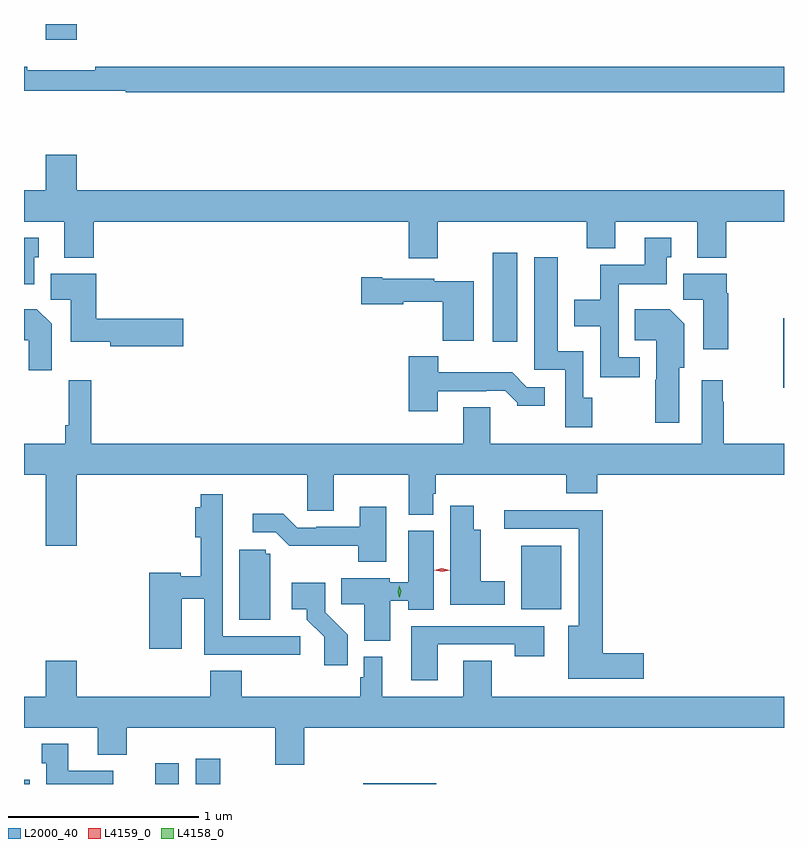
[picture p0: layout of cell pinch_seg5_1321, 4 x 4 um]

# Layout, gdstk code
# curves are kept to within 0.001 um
import gdstk
lib = gdstk.Library(unit=1e-6, precision=1e-09)
def R(c, l, rs):  # rectangles x0, y0, x1, y1
    for r in rs: c.add(gdstk.rectangle(r[:2], r[2:], *l))
def P(c, l, *ps):  # polygons
    for p in ps: c.add(gdstk.Polygon(p, *l))
L2000_40 = (2000, 40)
L4158_0 = (4158, 0)
L4159_0 = (4159, 0)

pinch_seg5_1321 = lib.new_cell('pinch_seg5_1321')
R(pinch_seg5_1321, L2000_40, [(248.81,907.08,248.839,907.102), (249.5,907.08,249.625,907.189), (249.713,907.08,249.844,907.213), (250.596,907.08,250.981,907.083), (251.426,908,251.638,908.335), (252.805,909.165,252.81,909.532), (251.276,909.408,251.407,909.877), (248.924,910.998,249.088,911.08)])
P(pinch_seg5_1321, L2000_40, [(252.81,910.856),(249.184,910.856),(249.184,910.837),(248.828,910.837),(248.828,910.856),(248.81,910.856),(248.81,910.728),(249.345,910.728),(249.345,910.72),(252.81,910.72)],
  [(250.987,910.04),(251.771,910.04),(251.771,909.899),(251.923,909.899),(251.923,910.04),(252.353,910.04),(252.353,909.851),(252.506,909.851),(252.506,910.04),(252.81,910.04),(252.81,910.204),(249.088,910.204),(249.088,910.393),(248.924,910.393),(248.924,910.204),(248.81,910.204),(248.81,910.04),(249.023,910.04),(249.023,909.851),(249.176,909.851),(249.176,910.04),(250.835,910.04),(250.835,909.846),(250.987,909.846)],
  [(248.863,909.852),(248.887,909.852),(248.887,909.955),(248.81,909.955),(248.81,909.71),(248.863,909.71)],
  [(252.052,909.327),(251.94,909.327),(251.94,909.71),(252.193,909.71),(252.193,909.852),(252.217,909.852),(252.217,909.955),(252.077,909.955),(252.077,909.814),(251.842,909.814),(251.842,909.628),(251.705,909.628),(251.705,909.488),(251.844,909.488),(251.844,909.222),(252.052,909.222)],
  [(251.802,909.114),(251.754,909.114),(251.754,909.358),(251.62,909.358),(251.62,909.853),(251.495,909.853),(251.495,909.261),(251.658,909.261),(251.658,908.958),(251.802,908.958)],
  [(252.516,909.662),(252.508,909.662),(252.508,909.766),(252.281,909.766),(252.281,909.628),(252.386,909.628),(252.386,909.369),(252.516,909.369)],
  [(249.649,909.53),(249.191,909.53),(249.191,909.766),(248.951,909.766),(248.951,909.628),(249.056,909.628),(249.056,909.407),(249.264,909.407),(249.264,909.383),(249.649,909.383)],
  [(251.176,909.727),(250.968,909.727),(250.968,909.739),(250.696,909.739),(250.696,909.747),(250.584,909.747),(250.584,909.605),(250.806,909.605),(250.806,909.617),(251.014,909.617),(251.014,909.413),(251.176,909.413)],
  [(252.259,909.27),(252.286,909.27),(252.286,909.502),(252.208,909.58),(252.025,909.58),(252.025,909.416),(252.137,909.416),(252.137,909.207),(252.132,909.207),(252.132,908.982),(252.259,908.982)],
  [(248.956,909.502),(248.878,909.58),(248.81,909.58),(248.81,909.416),(248.834,909.416),(248.834,909.258),(248.956,909.258)],
  [(250.987,909.147),(251.243,909.147),(251.243,909.15),(251.342,909.15),(251.406,909.086),(251.406,909.071),(251.551,909.071),(251.551,909.168),(251.457,909.168),(251.379,909.247),(250.99,909.247),(250.99,909.331),(250.835,909.331),(250.835,909.042),(250.987,909.042)],
  [(249.088,908.708),(250.302,908.708),(250.302,908.518),(250.441,908.518),(250.441,908.708),(250.835,908.708),(250.835,908.497),(250.963,908.497),(250.963,908.607),(250.976,908.607),(250.976,908.708),(251.663,908.708),(251.663,908.609),(251.828,908.609),(251.828,908.708),(252.81,908.708),(252.81,908.872),(252.494,908.872),(252.494,909.092),(252.487,909.092),(252.487,909.205),(252.378,909.205),(252.378,908.872),(251.263,908.872),(251.263,909.062),(251.123,909.062),(251.123,908.872),(249.164,908.872),(249.164,909.205),(249.046,909.205),(249.046,908.968),(249.028,908.968),(249.028,908.872),(248.81,908.872),(248.81,908.708),(248.924,908.708),(248.924,908.334),(249.088,908.334)],
  [(250.264,907.857),(249.855,907.857),(249.855,908.382),(249.856,908.382),(249.856,908.605),(249.739,908.605),(249.739,908.536),(249.71,908.536),(249.71,908.378),(249.739,908.378),(249.739,908.174),(249.636,908.174),(249.636,908.192),(249.47,908.192),(249.47,907.791),(249.64,907.791),(249.64,908.056),(249.759,908.056),(249.759,907.761),(250.039,907.761),(250.039,907.759),(250.264,907.759)],
  [(251.341,908.146),(251.215,908.146),(251.215,908.419),(251.176,908.419),(251.176,908.545),(251.054,908.545),(251.054,908.024),(251.341,908.024)],
  [(250.717,908.539),(250.577,908.539),(250.577,908.433),(250.348,908.433),(250.348,908.43),(250.248,908.43),(250.175,908.503),(250.014,908.503),(250.014,908.406),(250.134,908.406),(250.207,908.333),(250.57,908.334),(250.57,908.249),(250.717,908.249)],
  [(252.073,907.769),(251.855,907.769),(251.855,908.522),(251.337,908.522),(251.337,908.424),(251.729,908.424),(251.729,907.912),(251.675,907.912),(251.675,907.634),(252.073,907.634)],
  [(250.738,908.045),(250.832,908.045),(250.832,907.996),(250.966,907.996),(250.966,908.412),(250.832,908.412),(250.832,908.142),(250.734,908.142),(250.734,908.164),(250.48,908.164),(250.48,908.026),(250.601,908.026),(250.601,907.835),(250.738,907.835)],
  [(250.105,908.292),(250.083,908.292),(250.083,908.313),(249.944,908.313),(249.944,907.944),(250.105,907.944)],
  [(250.514,907.866),(250.395,907.985),(250.395,908.14),(250.218,908.14),(250.218,908),(250.298,908),(250.298,907.945),(250.389,907.855),(250.389,907.704),(250.514,907.704)],
  [(250.987,907.815),(251.392,907.815),(251.392,907.752),(251.548,907.752),(251.548,907.911),(250.847,907.911),(250.847,907.626),(250.987,907.626)],
  [(250.286,907.376),(252.81,907.376),(252.81,907.54),(251.271,907.54),(251.271,907.73),(251.123,907.73),(251.123,907.54),(250.696,907.54),(250.696,907.75),(250.599,907.75),(250.599,907.641),(250.579,907.641),(250.579,907.54),(249.956,907.54),(249.956,907.676),(249.791,907.676),(249.791,907.54),(249.088,907.54),(249.088,907.729),(248.924,907.729),(248.924,907.54),(248.81,907.54),(248.81,907.376),(249.197,907.376),(249.197,907.235),(249.35,907.235),(249.35,907.376),(250.133,907.376),(250.133,907.182),(250.286,907.182)],
  [(249.279,907.15),(249.043,907.15),(249.043,907.291),(248.903,907.291),(248.903,907.188),(248.927,907.188),(248.927,907.08),(249.279,907.08)])
P(pinch_seg5_1321, L4158_0, [(250.786,908.062),(250.776,908.093),(250.784,908.124),(250.784,908.124),(250.784,908.124),(250.795,908.094),(250.787,908.062),(250.787,908.062)])
P(pinch_seg5_1321, L4159_0, [(251.01,908.196),(250.969,908.205),(250.969,908.206),(250.969,908.206),(251.009,908.216),(251.05,908.206),(251.05,908.206),(251.05,908.206)])

lib.write_gds('pinch_seg5_1321.gds')
